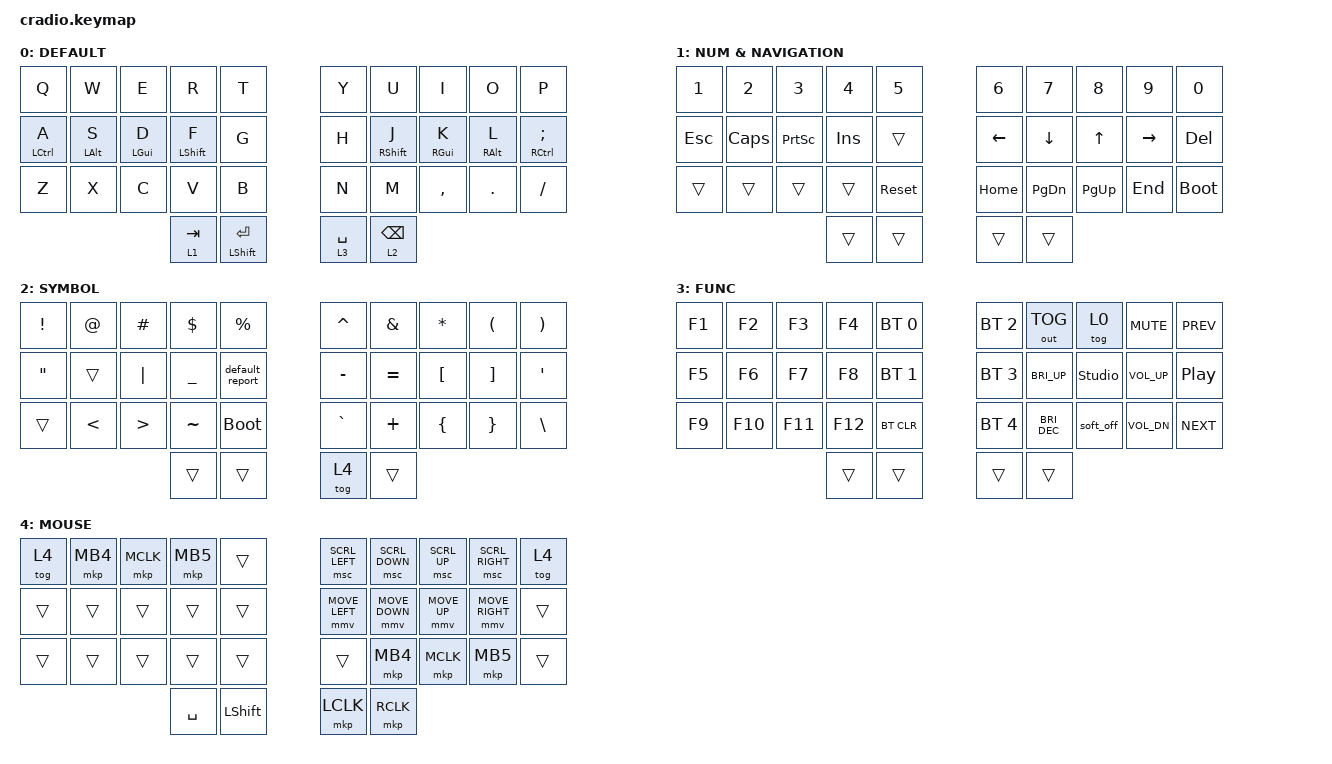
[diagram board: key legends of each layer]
// Copyright (c) 2022 The ZMK Contributors
// SPDX-License-Identifier: MIT

#define ZMK_POINTING_DEFAULT_MOVE_VAL 2500  // 600
#define ZMK_POINTING_DEFAULT_SCRL_VAL 20    // 10

#include <behaviors.dtsi>
#include "behaviors/character_map.dtsi"
#include "behaviors/report.dtsi"
#include <dt-bindings/zmk/bt.h>
#include <dt-bindings/zmk/keys.h>
#include <dt-bindings/zmk/outputs.h>
#include <dt-bindings/zmk/pointing.h>

#define MAC 0
#define WIN 1
#define RIG 2
#define LEF 3
#define TRI 4
#define MOUSE 5

// https: //zmk.dev/docs/development/hardware-integration/soft-off-setup?advanced-methods=wakeup&kscan-type=dkscan

/ {
    keys {
        compatible = "gpio-keys";

        soft_off_gpio_key: soft_off_gpio_key { gpios = <&gpio1 6 (GPIO_ACTIVE_LOW | GPIO_PULL_UP)>; };
    };

    wakeup_scan: wakeup_scan {
        compatible = "zmk,kscan-gpio-direct";
        input-keys = <&soft_off_gpio_key>;
        wakeup-source;
    };

    side_band_behavior_triggers: side_band_behavior_triggers {
        compatible = "zmk,kscan-sideband-behaviors";
        kscan = <&wakeup_scan>;
        auto-enable;
        wakeup-source;
    };

    soft_off_wakers {
        compatible = "zmk,soft-off-wakeup-sources";
        wakeup-sources = <&wakeup_scan>;
    };
};

/ {
    chosen { zmk,charmap = &charmap_us; };

    behaviors {
        ht: hold_tap {
            label = "hold_tap";
            compatible = "zmk,behavior-hold-tap";
            #binding-cells = <2>;
            flavor = "balanced";
            tapping-term-ms = <175>;
            quick-tap-ms = <150>;
            global-quick-tap;
            bindings = <&kp>, <&kp>;
        };

        HMR: HMR {
            compatible = "zmk,behavior-hold-tap";
            label = "HMR";
            bindings = <&kp>, <&kp>;

            #binding-cells = <2>;
            tapping-term-ms = <175>;
            quick-tap-ms = <150>;
            require-prior-idle-ms = <125>;
            flavor = "balanced";
            hold-trigger-key-positions = <0 1 2 3 4 10 11 12 13 14 20 21 22 23 24 30 31 32 33>;
            hold-trigger-on-release;
        };

        HML: HML {
            compatible = "zmk,behavior-hold-tap";
            label = "HML";
            bindings = <&kp>, <&kp>;

            #binding-cells = <2>;
            tapping-term-ms = <175>;
            quick-tap-ms = <150>;
            require-prior-idle-ms = <125>;
            flavor = "balanced";
            hold-trigger-key-positions = <5 6 7 8 9 15 16 17 18 19 25 26 27 28 29 32 33 30 31>;
            hold-trigger-on-release;
        };

        hold_tap_quick_tap: hold_tap_quick_tap {
            compatible = "zmk,behavior-hold-tap";
            label = "HOLD_TAP_QUICK_TAP";
            bindings = <&mo>, <&kp>;

            #binding-cells = <2>;
            tapping-term-ms = <175>;
            quick-tap-ms = <150>;
            require-prior-idle-ms = <125>;
            flavor = "balanced";
            hold-trigger-on-release;
        };

        mmv {
            acceleration-exponent = <1>;      // 1
            time-to-max-speed-ms = <300>;    // 40
            delay-ms = <0>;                   // 0
        };

        msc {
            acceleration-exponent = <0>;      // 0
            time-to-max-speed-ms = <40>;      // 500
            delay-ms = <0>;                   // 10
        };
    };

    conditional_layers { compatible = "zmk,conditional-layers"; };

    combos {
        compatible = "zmk,combos";

        ToggleLayer4 {
            bindings = <&tog 4>;
            key-positions = <32 33>;
        };

        Escape {
            bindings = <&kp ESCAPE>;
            key-positions = <31 32>;
        };

        CapsWord {
            bindings = <&caps_word>;
            key-positions = <30 33>;
        };
    };

    keymap {
        compatible = "zmk,keymap";

        default_layer {
            display-name = "DEFAULT";
            bindings = <
&kp Q                &kp W        &kp E            &kp R              &kp T               &kp Y                        &kp U                            &kp I             &kp O        &kp P
&HML LEFT_CONTROL A  &HML LALT S  &HML LEFT_GUI D  &HML LEFT_SHIFT F  &kp G               &kp H                        &HMR RIGHT_SHIFT J               &HMR RIGHT_GUI K  &HMR RALT L  &HMR RIGHT_CONTROL SEMI
&kp Z                &kp X        &kp C            &kp V              &kp B               &kp N                        &kp M                            &kp COMMA         &kp DOT      &kp SLASH
                                                   &lt 1 TAB          &mt LSHIFT ENTER    &hold_tap_quick_tap 3 SPACE  &hold_tap_quick_tap 2 BACKSPACE
            >;
        };

        NUM_NAVIGATION {
            display-name = "NUM & NAVIGATION";
            bindings = <
&kp N1      &kp N2    &kp N3     &kp N4   &kp N5        &kp N6    &kp N7     &kp N8     &kp N9     &kp N0
&kp ESCAPE  &kp CAPS  &kp PSCRN  &kp INS  &trans        &kp LEFT  &kp DOWN   &kp UP     &kp RIGHT  &kp DELETE
&trans      &trans    &trans     &trans   &sys_reset    &kp HOME  &kp PG_DN  &kp PG_UP  &kp END    &bootloader
                                 &trans   &trans        &trans    &trans
            >;
        };

        Symbol {
            display-name = "SYMBOL";
            bindings = <
&kp EXCL  &kp AT         &kp HASH          &kp DLLR   &kp PRCNT          &kp CARET  &kp AMPS   &kp ASTRK         &kp LEFT_PARENTHESIS  &kp RIGHT_PARENTHESIS
&kp DQT   &trans         &kp PIPE          &kp UNDER  &default_report    &kp MINUS  &kp EQUAL  &kp LEFT_BRACKET  &kp RIGHT_BRACKET     &kp APOS
&trans    &kp LESS_THAN  &kp GREATER_THAN  &kp TILDE  &bootloader        &kp GRAVE  &kp PLUS   &kp LEFT_BRACE    &kp RIGHT_BRACE       &kp BACKSLASH
                                           &trans     &trans             &tog 4     &trans
            >;
        };

        Fn {
            display-name = "FUNC";
            bindings = <
&kp F1  &kp F2   &kp F3   &kp F4   &bt BT_SEL 0    &bt BT_SEL 2  &out OUT_TOG   &tog 0          &kp C_MUTE    &kp C_PREV
&kp F5  &kp F6   &kp F7   &kp F8   &bt BT_SEL 1    &bt BT_SEL 3  &kp C_BRI_UP   &studio_unlock  &kp C_VOL_UP  &kp C_PP
&kp F9  &kp F10  &kp F11  &kp F12  &bt BT_CLR      &bt BT_SEL 4  &kp C_BRI_DEC  &soft_off       &kp C_VOL_DN  &kp C_NEXT
                          &trans   &trans          &trans        &trans
            >;
        };

        mouse {
            display-name = "MOUSE";
            bindings = <
&tog 4  &mkp MB4  &mkp MCLK  &mkp MB5   &trans        &msc SCRL_LEFT  &msc SCRL_DOWN  &msc SCRL_UP  &msc SCRL_RIGHT  &tog 4
&trans  &trans    &trans     &trans     &trans        &mmv MOVE_LEFT  &mmv MOVE_DOWN  &mmv MOVE_UP  &mmv MOVE_RIGHT  &trans
&trans  &trans    &trans     &trans     &trans        &trans          &mkp MB4        &mkp MCLK     &mkp MB5         &trans
                             &kp SPACE  &kp LSHIFT    &mkp LCLK       &mkp RCLK
            >;
        };
    };
};
